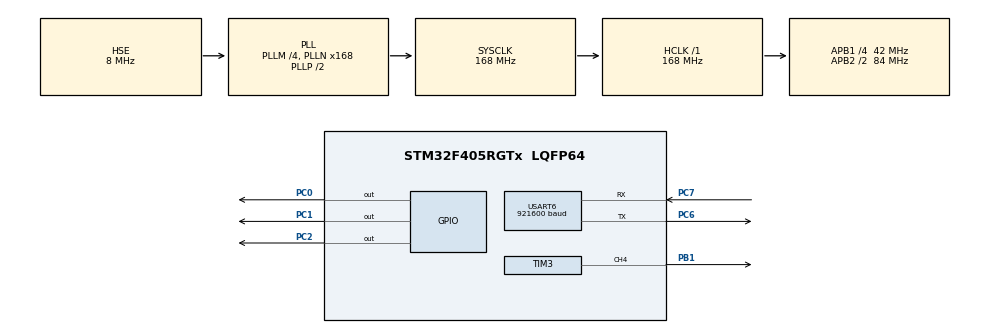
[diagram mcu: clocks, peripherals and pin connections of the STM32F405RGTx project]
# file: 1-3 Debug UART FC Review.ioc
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Mcu.Family=STM32F4
Mcu.Name=STM32F405RGTx
Mcu.Package=LQFP64
NVIC.PriorityGroup=NVIC_PRIORITYGROUP_4
NVIC.USART6_IRQn=true\:0\:0\:false\:false\:true\:true\:true
PB1.Signal=S_TIM3_CH4
PC0.Signal=GPIO_Output
PC1.Signal=GPIO_Output
PC2.Signal=GPIO_Output
PC6.Mode=Asynchronous
PC6.Signal=USART6_TX
PC7.Mode=Asynchronous
PC7.Signal=USART6_RX
PH0-OSC_IN.Mode=HSE-External-Oscillator
PH0-OSC_IN.Signal=RCC_OSC_IN
PH1-OSC_OUT.Mode=HSE-External-Oscillator
PH1-OSC_OUT.Signal=RCC_OSC_OUT
ProjectManager.HeapSize=0x200
ProjectManager.StackSize=0x400
ProjectManager.TargetToolchain=STM32CubeIDE
RCC.48MHZClocksFreq_Value=84000000
RCC.AHBFreq_Value=168000000
RCC.APB1CLKDivider=RCC_HCLK_DIV4
RCC.APB1Freq_Value=42000000
RCC.APB1TimFreq_Value=84000000
RCC.APB2CLKDivider=RCC_HCLK_DIV2
RCC.APB2Freq_Value=84000000
RCC.APB2TimFreq_Value=168000000
RCC.CortexFreq_Value=168000000
RCC.HCLKFreq_Value=168000000
RCC.HSE_VALUE=8000000
RCC.HSI_VALUE=16000000
RCC.LSE_VALUE=32768
RCC.PLLM=4
RCC.PLLN=168
RCC.PLLSourceVirtual=RCC_PLLSOURCE_HSE
RCC.SYSCLKFreq_VALUE=168000000
RCC.SYSCLKSource=RCC_SYSCLKSOURCE_PLLCLK
RCC.VCOOutputFreq_Value=336000000
SH.S_TIM3_CH4.0=TIM3_CH4,PWM Generation4 CH4
TIM3.AutoReloadPreload=TIM_AUTORELOAD_PRELOAD_ENABLE
TIM3.Channel-PWM\ Generation4\ CH4=TIM_CHANNEL_4
TIM3.OCFastMode_PWM-PWM\ Generation4\ CH4=TIM_OCFAST_ENABLE
TIM3.Period=20
TIM3.Prescaler=1000-1
TIM3.Pulse-PWM\ Generation4\ CH4=10
USART6.BaudRate=921600
USART6.VirtualMode=VM_ASYNC
VP_TIM3_VS_ClockSourceINT.Mode=Internal
board=custom

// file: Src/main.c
/* USER CODE BEGIN Header */
/**
  ******************************************************************************
  * @file           : main.c
  * @brief          : Main program body
  ******************************************************************************
  * @attention
  *
  * <h2><center>&copy; Copyright (c) 2019 STMicroelectronics.
  * All rights reserved.</center></h2>
  *
  * This software component is licensed by ST under BSD 3-Clause license,
  * the "License"; You may not use this file except in compliance with the
  * License. You may obtain a copy of the License at:
  *                        opensource.org/licenses/BSD-3-Clause
  *
  ******************************************************************************
  */
/* USER CODE END Header */

#include "main.h"
#include "tim.h"
#include "usart.h"
#include "gpio.h"

/* USER CODE BEGIN Includes */
#include <stdio.h>
/* USER CODE END Includes */

/* USER CODE BEGIN PM */
int _write(int file, char *ptr, int len)
{
	for(int i=0; i<len; i++) {
		LL_USART_TransmitData8(USART6, ptr[i]);
		HAL_Delay(1);
	}
	return len;
}
/* USER CODE END PM */

/* USER CODE BEGIN PV */
extern uint8_t usart6_rx_flag;
extern uint8_t usart6_rx_data;

/* USER CODE END PV */

void SystemClock_Config(void);

int main(void)
{

  /* MCU Configuration--------------------------------------------------------*/

  /* Reset of all peripherals, Initializes the Flash interface and the Systick. */
  HAL_Init();

  /* Configure the system clock */
  SystemClock_Config();

  /* Initialize all configured peripherals */
  MX_GPIO_Init();
  MX_TIM3_Init();
  MX_USART6_UART_Init();
  /* USER CODE BEGIN 2 */
  LL_TIM_EnableCounter(TIM3);
  LL_TIM_CC_EnableChannel(TIM3, LL_TIM_CHANNEL_CH4);

  TIM3->PSC = 2000;
  HAL_Delay(100);
  TIM3->PSC = 1500;
  HAL_Delay(100);
  TIM3->PSC = 1000;
  HAL_Delay(100);

  LL_TIM_CC_DisableChannel(TIM3, LL_TIM_CHANNEL_CH4);
  LL_USART_EnableIT_RXNE(USART6);
  /* USER CODE END 2 */

  /* Infinite loop */
  while (1)
  {

    /* USER CODE BEGIN 3 */
	  // LL_GPIO_TogglePin(GPIOC, LL_GPIO_PIN_0 | LL_GPIO_PIN_1 | LL_GPIO_PIN_2);
	  // HAL_Delay(500);
	  // LL_USART_TransmitData8(USART6, 'a');
	  // HAL_Delay(1000);
//	  if(usart6_rx_flag) {
//		  LL_USART_TransmitData8(USART6, usart6_rx_data);
//		  usart6_rx_flag = 0;
//
//		  switch(usart6_rx_data) {
//		  case '0':
//			  LL_GPIO_TogglePin(GPIOC, LL_GPIO_PIN_0 | LL_GPIO_PIN_1 | LL_GPIO_PIN_2);
//			  break;
//		  case '1':
//			  LL_TIM_CC_EnableChannel(TIM3, LL_TIM_CHANNEL_CH4);
//			  break;
//		  case '2':
//			  LL_TIM_CC_DisableChannel(TIM3, LL_TIM_CHANNEL_CH4);
//			  break;
//		  }
//	  }
	  printf("hello world\n");
  }
  /* USER CODE END 3 */
}

void SystemClock_Config(void)
{
  RCC_OscInitTypeDef RCC_OscInitStruct = {0};
  RCC_ClkInitTypeDef RCC_ClkInitStruct = {0};

  /** Configure the main internal regulator output voltage
  */
  __HAL_RCC_PWR_CLK_ENABLE();
  __HAL_PWR_VOLTAGESCALING_CONFIG(PWR_REGULATOR_VOLTAGE_SCALE1);
  /** Initializes the CPU, AHB and APB busses clocks
  */
  RCC_OscInitStruct.OscillatorType = RCC_OSCILLATORTYPE_HSE;
  RCC_OscInitStruct.HSEState = RCC_HSE_ON;
  RCC_OscInitStruct.PLL.PLLState = RCC_PLL_ON;
  RCC_OscInitStruct.PLL.PLLSource = RCC_PLLSOURCE_HSE;
  RCC_OscInitStruct.PLL.PLLM = 4;
  RCC_OscInitStruct.PLL.PLLN = 168;
  RCC_OscInitStruct.PLL.PLLP = RCC_PLLP_DIV2;
  RCC_OscInitStruct.PLL.PLLQ = 4;
  if (HAL_RCC_OscConfig(&RCC_OscInitStruct) != HAL_OK)
  {
    Error_Handler();
  }
  /** Initializes the CPU, AHB and APB busses clocks
  */
  RCC_ClkInitStruct.ClockType = RCC_CLOCKTYPE_HCLK|RCC_CLOCKTYPE_SYSCLK
                              |RCC_CLOCKTYPE_PCLK1|RCC_CLOCKTYPE_PCLK2;
  RCC_ClkInitStruct.SYSCLKSource = RCC_SYSCLKSOURCE_PLLCLK;
  RCC_ClkInitStruct.AHBCLKDivider = RCC_SYSCLK_DIV1;
  RCC_ClkInitStruct.APB1CLKDivider = RCC_HCLK_DIV4;
  RCC_ClkInitStruct.APB2CLKDivider = RCC_HCLK_DIV2;

  if (HAL_RCC_ClockConfig(&RCC_ClkInitStruct, FLASH_LATENCY_5) != HAL_OK)
  {
    Error_Handler();
  }
}

void Error_Handler(void)
{
}

/************************ (C) COPYRIGHT STMicroelectronics *****END OF FILE****/
